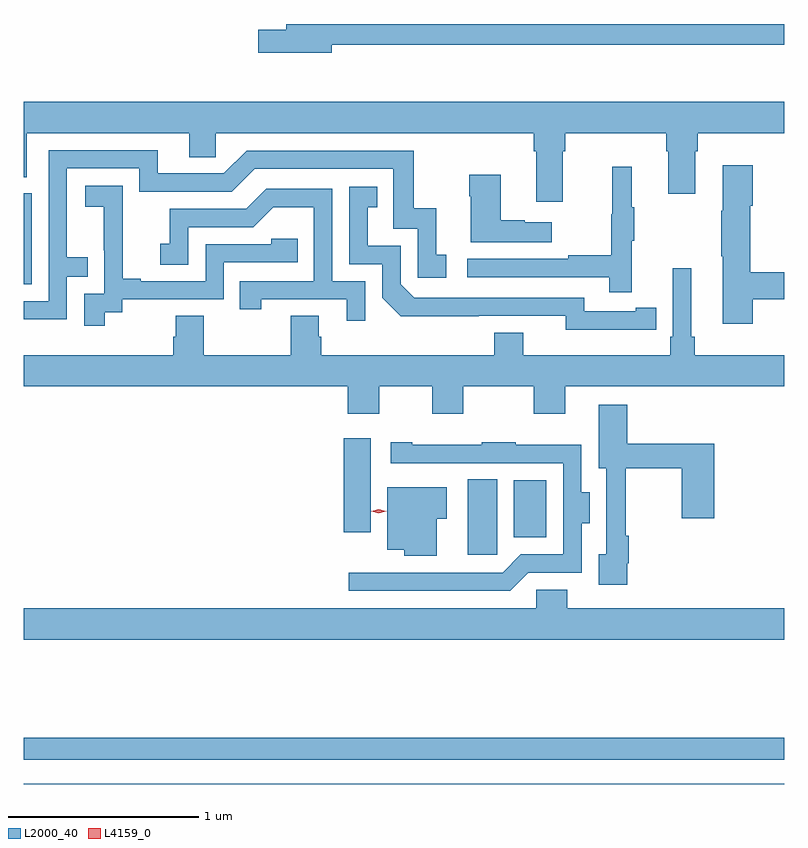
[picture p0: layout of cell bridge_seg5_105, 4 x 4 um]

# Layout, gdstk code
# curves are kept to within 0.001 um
import gdstk
lib = gdstk.Library(unit=1e-6, precision=1e-09)
def R(c, l, rs):  # rectangles x0, y0, x1, y1
    for r in rs: c.add(gdstk.rectangle(r[:2], r[2:], *l))
def P(c, l, *ps):  # polygons
    for p in ps: c.add(gdstk.Polygon(p, *l))
L2000_40 = (2000, 40)
L4159_0 = (4159, 0)

bridge_seg5_105 = lib.new_cell('bridge_seg5_105')
R(bridge_seg5_105, L2000_40, [(602.776,874.648,606.776,874.65), (602.776,874.776,606.776,874.892), (605.111,875.855,605.266,876.251), (605.354,875.945,605.524,876.247), (604.46,875.973,604.6,876.466), (602.776,877.278,602.817,877.755)])
P(bridge_seg5_105, L2000_40, [(604.396,878.538),(606.776,878.538),(606.776,878.646),(604.157,878.646),(604.157,878.617),(604.008,878.617),(604.008,878.495),(604.396,878.495)],
  [(605.611,877.976),(605.624,877.976),(605.624,878.072),(606.155,878.072),(606.155,877.976),(606.167,877.976),(606.167,877.752),(606.307,877.752),(606.307,877.976),(606.32,877.976),(606.32,878.072),(606.776,878.072),(606.776,878.236),(602.776,878.236),(602.776,877.84),(602.791,877.84),(602.791,878.072),(603.647,878.072),(603.647,877.945),(603.786,877.945),(603.786,878.072),(605.459,878.072),(605.459,877.976),(605.471,877.976),(605.471,877.71),(605.611,877.71)],
  [(603.003,877.317),(603.113,877.317),(603.113,877.418),(603.003,877.418),(603.003,877.887),(603.384,877.887),(603.384,877.764),(603.87,877.764),(603.99,877.884),(604.719,877.884),(604.719,877.569),(604.848,877.569),(604.848,877.311),(604.999,877.311),(604.999,877.431),(604.946,877.431),(604.946,877.678),(604.828,877.678),(604.828,877.98),(603.948,877.98),(603.828,877.86),(603.481,877.86),(603.481,877.983),(602.907,877.983),(602.907,877.188),(602.776,877.188),(602.776,877.092),(603.003,877.092)],
  [(606.611,877.198),(606.776,877.198),(606.776,877.34),(606.598,877.34),(606.598,877.69),(606.611,877.69),(606.611,877.903),(606.452,877.903),(606.452,877.664),(606.445,877.664),(606.445,877.423),(606.452,877.423),(606.452,877.068),(606.611,877.068)],
  [(605.975,877.507),(605.986,877.507),(605.986,877.681),(605.975,877.681),(605.975,877.894),(605.872,877.894),(605.872,877.644),(605.865,877.644),(605.865,877.43),(605.641,877.43),(605.641,877.41),(605.109,877.41),(605.109,877.314),(605.857,877.314),(605.857,877.236),(605.975,877.236)],
  [(605.554,877.603),(605.411,877.603),(605.411,877.613),(605.284,877.613),(605.284,877.852),(605.119,877.852),(605.119,877.739),(605.126,877.739),(605.126,877.499),(605.554,877.499)],
  [(603.202,877.129),(603.294,877.129),(603.294,877.197),(603.828,877.197),(603.828,877.392),(604.217,877.392),(604.217,877.515),(604.077,877.515),(604.077,877.488),(603.732,877.488),(603.732,877.293),(603.391,877.293),(603.391,877.306),(603.296,877.306),(603.296,877.589),(603.297,877.589),(603.297,877.795),(603.099,877.795),(603.099,877.685),(603.197,877.685),(603.197,877.457),(603.198,877.457),(603.198,877.227),(603.093,877.227),(603.093,877.059),(603.202,877.059)],
  [(605.996,877.038),(606.104,877.038),(606.104,877.154),(605.996,877.154),(605.996,877.134),(605.724,877.134),(605.724,877.206),(604.83,877.206),(604.758,877.278),(604.758,877.479),(604.585,877.479),(604.585,877.683),(604.634,877.683),(604.634,877.789),(604.488,877.789),(604.488,877.383),(604.662,877.383),(604.662,877.206),(604.76,877.109),(605.628,877.11),(605.628,877.037)],
  [(604.572,877.293),(604.398,877.293),(604.398,877.779),(604.052,877.779),(603.947,877.674),(603.544,877.674),(603.544,877.489),(603.495,877.489),(603.495,877.38),(603.642,877.38),(603.642,877.578),(603.984,877.578),(604.088,877.682),(604.302,877.682),(604.302,877.293),(603.913,877.293),(603.913,877.146),(604.024,877.146),(604.024,877.197),(604.475,877.197),(604.475,877.086),(604.572,877.086)],
  [(604.645,876.74),(604.925,876.74),(604.925,876.597),(605.089,876.597),(605.089,876.74),(605.459,876.74),(605.459,876.597),(605.623,876.597),(605.623,876.74),(606.776,876.74),(606.776,876.904),(606.305,876.904),(606.305,877),(606.286,877),(606.286,877.36),(606.189,877.36),(606.189,877),(606.176,877),(606.176,876.904),(605.404,876.904),(605.404,877.021),(605.252,877.021),(605.252,876.904),(604.34,876.904),(604.34,877.002),(604.327,877.002),(604.327,877.112),(604.18,877.112),(604.18,876.904),(603.723,876.904),(603.723,877.112),(603.575,877.112),(603.575,877.002),(603.563,877.002),(603.563,876.904),(602.776,876.904),(602.776,876.74),(604.481,876.74),(604.481,876.597),(604.645,876.597)],
  [(605.95,875.809),(605.957,875.809),(605.957,875.953),(605.942,875.953),(605.942,876.31),(606.236,876.31),(606.236,876.045),(606.407,876.045),(606.407,876.439),(605.951,876.439),(605.951,876.643),(605.801,876.643),(605.801,876.308),(605.841,876.308),(605.841,875.857),(605.801,875.857),(605.801,875.697),(605.95,875.697)],
  [(605.43,875.76),(605.71,875.76),(605.71,876.02),(605.752,876.02),(605.752,876.184),(605.709,876.184),(605.709,876.433),(605.363,876.433),(605.363,876.445),(605.185,876.445),(605.185,876.433),(604.819,876.433),(604.819,876.445),(604.707,876.445),(604.707,876.336),(605.613,876.336),(605.613,875.856),(605.391,875.856),(605.295,875.76),(604.485,875.76),(604.485,875.664),(605.334,875.664)],
  [(604.948,876.044),(605.002,876.044),(605.002,876.208),(604.688,876.208),(604.688,875.879),(604.778,875.879),(604.778,875.849),(604.948,875.849)],
  [(606.776,875.572),(605.636,875.572),(605.636,875.67),(605.472,875.67),(605.472,875.572),(602.776,875.572),(602.776,875.408),(606.776,875.408)])
P(bridge_seg5_105, L4159_0, [(604.643,876.073),(604.603,876.082),(604.603,876.083),(604.603,876.083),(604.643,876.093),(604.682,876.083),(604.683,876.083),(604.682,876.082)])

lib.write_gds('bridge_seg5_105.gds')
